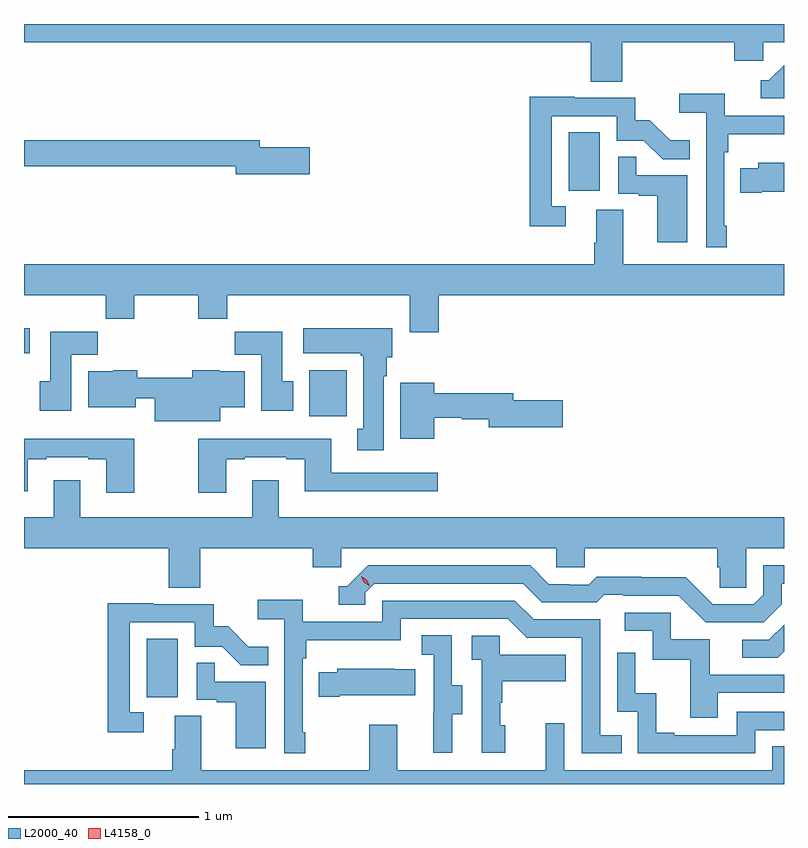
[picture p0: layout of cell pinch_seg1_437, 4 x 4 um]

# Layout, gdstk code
import gdstk
lib = gdstk.Library(unit=1e-6, precision=1e-09)
def R(c, l, rs):  # rectangles x0, y0, x1, y1
    for r in rs: c.add(gdstk.rectangle(r[:2], r[2:], *l))
def P(c, l, *ps):  # polygons
    for p in ps: c.add(gdstk.Polygon(p, *l))
L2000_40 = (2000, 40)
L4158_0 = (4158, 0)

pinch_seg1_437 = lib.new_cell('pinch_seg1_437')
R(pinch_seg1_437, L2000_40, [(998.264,521.645,998.428,521.953), (999.119,523.124,999.316,523.366), (997.618,523.454,997.648,523.588), (1000.484,524.31,1000.648,524.617)])
P(pinch_seg1_437, L2000_40, [(1000.766,525.092),(1001.357,525.092),(1001.357,524.994),(1001.508,524.994),(1001.508,525.092),(1001.618,525.092),(1001.618,525.188),(997.618,525.188),(997.618,525.092),(1000.601,525.092),(1000.601,524.884),(1000.766,524.884)],
  [(1001.618,524.972),(1001.538,524.892),(1001.495,524.892),(1001.495,524.796),(1001.618,524.796)],
  [(1001.317,524.125),(1001.304,524.125),(1001.304,524.513),(1001.324,524.513),(1001.324,524.609),(1001.618,524.609),(1001.618,524.706),(1001.306,524.706),(1001.306,524.822),(1001.067,524.822),(1001.067,524.72),(1001.208,524.72),(1001.208,524.013),(1001.317,524.013)],
  [(1000.468,524.229),(1000.395,524.229),(1000.395,524.703),(1000.737,524.703),(1000.737,524.574),(1000.881,524.574),(1000.979,524.476),(1001.123,524.476),(1001.123,524.575),(1001.019,524.575),(1000.912,524.682),(1000.836,524.682),(1000.836,524.799),(1000.517,524.799),(1000.517,524.804),(1000.279,524.804),(1000.279,524.124),(1000.468,524.124)],
  [(999.121,524.54),(998.86,524.54),(998.86,524.576),(997.618,524.576),(997.618,524.44),(998.732,524.44),(998.732,524.398),(999.121,524.398)],
  [(1001.11,524.391),(1000.841,524.391),(1000.841,524.489),(1000.746,524.489),(1000.746,524.295),(1000.853,524.295),(1000.853,524.283),(1000.952,524.283),(1000.952,524.04),(1001.11,524.04)],
  [(1001.5,524.306),(1001.618,524.306),(1001.618,524.458),(1001.483,524.458),(1001.483,524.428),(1001.389,524.428),(1001.389,524.299),(1001.5,524.299)],
  [(999.8,523.76),(1001.618,523.76),(1001.618,523.924),(1000.771,523.924),(1000.771,524.21),(1000.631,524.21),(1000.631,524.036),(1000.619,524.036),(1000.619,523.924),(997.618,523.924),(997.618,523.76),(998.047,523.76),(998.047,523.636),(998.199,523.636),(998.199,523.76),(998.536,523.76),(998.536,523.636),(998.687,523.636),(998.687,523.76),(999.647,523.76),(999.647,523.566),(999.8,523.566)],
  [(999.511,523.334),(999.526,523.334),(999.526,523.434),(999.556,523.434),(999.556,523.588),(999.087,523.588),(999.087,523.454),(999.391,523.454),(999.391,523.441),(999.404,523.441),(999.404,523.058),(999.371,523.058),(999.371,522.945),(999.511,522.945)],
  [(997.867,523.448),(998.006,523.448),(998.006,523.567),(997.757,523.567),(997.757,523.308),(997.7,523.308),(997.7,523.152),(997.867,523.152)],
  [(999.034,523.308),(998.977,523.308),(998.977,523.567),(998.728,523.567),(998.728,523.448),(998.867,523.448),(998.867,523.152),(999.034,523.152)],
  [(998.65,523.172),(998.779,523.172),(998.779,523.36),(998.646,523.36),(998.646,523.366),(998.503,523.366),(998.503,523.327),(998.214,523.327),(998.214,523.366),(998.088,523.366),(998.088,523.36),(997.955,523.36),(997.955,523.172),(998.206,523.172),(998.206,523.217),(998.306,523.217),(998.306,523.097),(998.65,523.097)],
  [(999.778,523.116),(999.921,523.116),(999.921,523.108),(1000.064,523.108),(1000.064,523.066),(1000.453,523.066),(1000.453,523.208),(1000.192,523.208),(1000.192,523.244),(999.778,523.244),(999.778,523.3),(999.599,523.3),(999.599,523.004),(999.778,523.004)],
  [(998.199,523.006),(997.618,523.006),(997.618,522.728),(997.639,522.728),(997.639,522.897),(997.735,522.897),(997.735,522.909),(997.955,522.909),(997.955,522.897),(998.051,522.897),(998.051,522.72),(998.199,522.72)],
  [(998.683,522.897),(998.779,522.897),(998.779,522.909),(998.999,522.909),(998.999,522.897),(999.095,522.897),(999.095,522.728),(999.796,522.728),(999.796,522.825),(999.235,522.825),(999.235,523.006),(998.536,523.006),(998.536,522.72),(998.683,522.72)],
  [(998.546,522.428),(999.137,522.428),(999.137,522.33),(999.288,522.33),(999.288,522.428),(1000.419,522.428),(1000.419,522.33),(1000.569,522.33),(1000.569,522.428),(1001.267,522.428),(1001.267,522.33),(1001.281,522.33),(1001.281,522.22),(1001.418,522.22),(1001.418,522.428),(1001.618,522.428),(1001.618,522.592),(998.959,522.592),(998.959,522.787),(998.819,522.787),(998.819,522.592),(997.915,522.592),(997.915,522.787),(997.775,522.787),(997.775,522.592),(997.618,522.592),(997.618,522.428),(998.381,522.428),(998.381,522.22),(998.546,522.22)],
  [(1001.605,522.133),(1001.605,522.243),(1001.618,522.243),(1001.618,522.339),(1001.508,522.339),(1001.508,522.183),(1001.46,522.135),(1001.244,522.135),(1001.102,522.277),(1000.866,522.277),(1000.866,522.28),(1000.633,522.28),(1000.591,522.237),(1000.488,522.237),(1000.488,522.24),(1000.381,522.24),(1000.282,522.339),(999.429,522.339),(999.318,522.228),(999.275,522.228),(999.275,522.132),(999.414,522.132),(999.414,522.195),(999.462,522.243),(1000.245,522.243),(1000.344,522.144),(1000.633,522.144),(1000.672,522.183),(1000.771,522.183),(1000.771,522.18),(1001.064,522.18),(1001.205,522.039),(1001.511,522.039)],
  [(999.097,521.461),(999.084,521.461),(999.084,521.849),(999.104,521.849),(999.104,521.945),(999.6,521.945),(999.6,522.057),(1000.164,522.057),(1000.263,521.958),(1000.554,521.958),(1000.554,521.349),(1000.763,521.349),(1000.763,521.445),(1000.65,521.445),(1000.65,522.054),(1000.3,522.054),(1000.201,522.153),(999.504,522.153),(999.504,522.042),(999.086,522.042),(999.086,522.158),(998.847,522.158),(998.847,522.056),(998.988,522.056),(998.988,521.349),(999.097,521.349)],
  [(998.248,521.565),(998.175,521.565),(998.175,522.039),(998.517,522.039),(998.517,521.91),(998.661,521.91),(998.759,521.812),(998.903,521.812),(998.903,521.911),(998.799,521.911),(998.692,522.018),(998.616,522.018),(998.616,522.135),(998.297,522.135),(998.297,522.14),(998.059,522.14),(998.059,521.46),(998.248,521.46)],
  [(1001.269,521.667),(1001.618,521.667),(1001.618,521.763),(1001.227,521.763),(1001.227,521.949),(1001.022,521.949),(1001.022,522.09),(1000.779,522.09),(1000.779,521.994),(1000.926,521.994),(1000.926,521.841),(1001.125,521.841),(1001.125,521.538),(1001.269,521.538)],
  [(1001.618,521.887),(1001.618,522.026),(1001.538,521.946),(1001.397,521.946),(1001.397,521.853),(1001.584,521.853)],
  [(999.871,521.554),(999.925,521.554),(999.925,521.709),(999.87,521.709),(999.87,521.972),(999.711,521.972),(999.711,521.869),(999.774,521.869),(999.774,521.565),(999.773,521.565),(999.773,521.352),(999.871,521.352)],
  [(1000.15,521.496),(1000.125,521.496),(1000.125,521.615),(1000.135,521.615),(1000.135,521.729),(1000.469,521.729),(1000.469,521.869),(1000.122,521.869),(1000.122,521.967),(999.975,521.967),(999.975,521.843),(1000.026,521.843),(1000.026,521.352),(1000.15,521.352)],
  [(1001.466,521.472),(1001.618,521.472),(1001.618,521.568),(1001.37,521.568),(1001.37,521.445),(1001.041,521.445),(1001.041,521.458),(1000.946,521.458),(1000.946,521.666),(1000.836,521.666),(1000.836,521.878),(1000.74,521.878),(1000.74,521.568),(1000.848,521.568),(1000.848,521.349),(1001.466,521.349)],
  [(998.89,521.727),(998.621,521.727),(998.621,521.825),(998.526,521.825),(998.526,521.631),(998.633,521.631),(998.633,521.619),(998.732,521.619),(998.732,521.376),(998.89,521.376)],
  [(999.28,521.654),(999.677,521.654),(999.677,521.791),(999.569,521.791),(999.569,521.794),(999.267,521.794),(999.267,521.776),(999.169,521.776),(999.169,521.647),(999.28,521.647)],
  [(1001.618,521.387),(1001.556,521.387),(1001.556,521.26),(1000.461,521.26),(1000.461,521.509),(1000.364,521.509),(1000.364,521.26),(999.583,521.26),(999.583,521.5),(999.436,521.5),(999.436,521.26),(998.551,521.26),(998.551,521.546),(998.411,521.546),(998.411,521.372),(998.399,521.372),(998.399,521.26),(997.618,521.26),(997.618,521.188),(1001.618,521.188)])
P(pinch_seg1_437, L4158_0, [(999.438,522.228),(999.407,522.249),(999.392,522.282),(999.392,522.282),(999.392,522.282),(999.423,522.262),(999.438,522.229),(999.438,522.228)])

lib.write_gds('pinch_seg1_437.gds')
